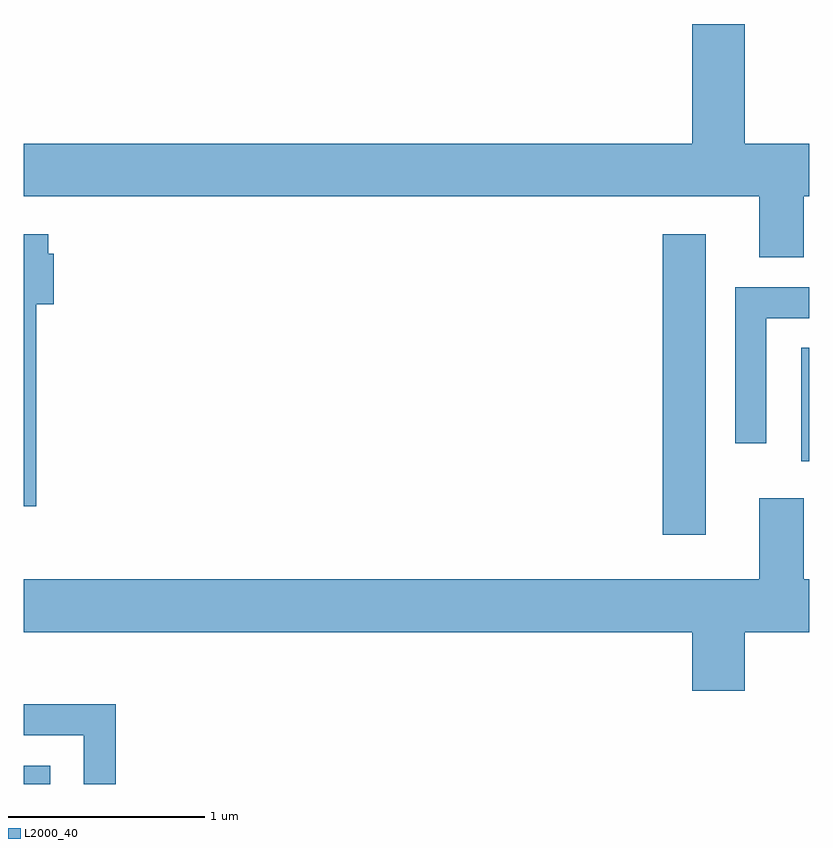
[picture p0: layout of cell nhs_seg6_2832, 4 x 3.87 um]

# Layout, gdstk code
import gdstk
lib = gdstk.Library(unit=1e-6, precision=1e-09)
def R(c, l, rs):  # rectangles x0, y0, x1, y1
    for r in rs: c.add(gdstk.rectangle(r[:2], r[2:], *l))
def P(c, l, *ps):  # polygons
    for p in ps: c.add(gdstk.Polygon(p, *l))
L2000_40 = (2000, 40)

nhs_seg6_2832 = lib.new_cell('nhs_seg6_2832')
R(nhs_seg6_2832, L2000_40, [(271.611,1538.162,271.744,1538.254), (274.866,1539.431,275.084,1540.964), (275.571,1539.806,275.611,1540.384)])
P(nhs_seg6_2832, L2000_40, [(275.584,1541.156),(275.611,1541.156),(275.611,1541.424),(275.284,1541.424),(275.284,1542.034),(275.016,1542.034),(275.016,1541.424),(271.611,1541.424),(271.611,1541.156),(275.356,1541.156),(275.356,1540.846),(275.584,1540.846)],
  [(271.674,1540.606),(271.764,1540.606),(271.764,1540.864),(271.734,1540.864),(271.734,1540.964),(271.611,1540.964),(271.611,1539.576),(271.674,1539.576)],
  [(275.394,1540.536),(275.611,1540.536),(275.611,1540.694),(275.236,1540.694),(275.236,1539.898),(275.394,1539.898)],
  [(275.284,1538.936),(275.611,1538.936),(275.611,1539.204),(275.584,1539.204),(275.584,1539.619),(275.356,1539.619),(275.356,1539.204),(271.611,1539.204),(271.611,1538.936),(275.016,1538.936),(275.016,1538.636),(275.284,1538.636)],
  [(272.079,1538.569),(271.611,1538.569),(271.611,1538.411),(271.916,1538.411),(271.916,1538.162),(272.079,1538.162)])

lib.write_gds('nhs_seg6_2832.gds')
